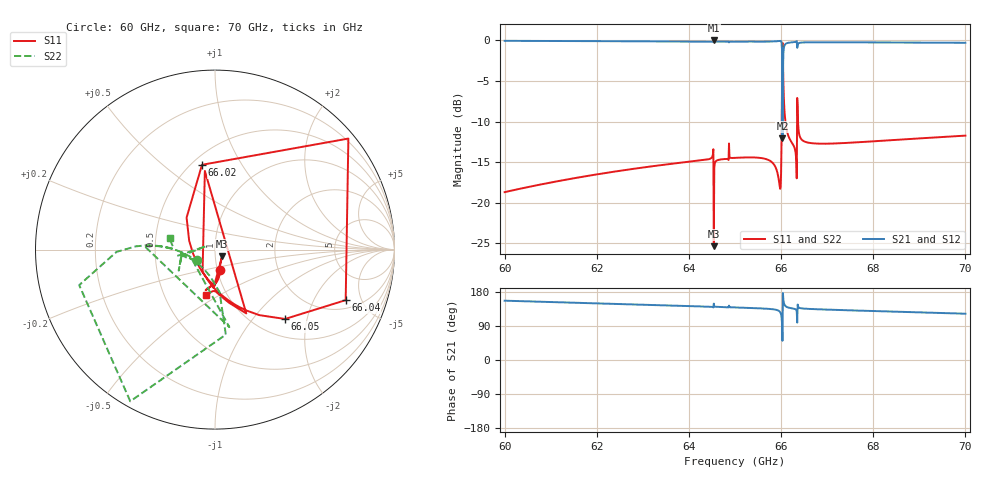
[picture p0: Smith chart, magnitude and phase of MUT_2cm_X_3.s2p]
! TOUCHSTONE file generated by CST MICROWAVE STUDIO
! Date and time: Tue Feb 27 21:04:24 2024
! Project name: material_angular.cst
! Parameters = {exis2=3; exis=5; X=5; Z=5; Y=2}
! Header version: 2018
! Port assignment regex: !\s*Touchstone port\s*([0-9]+)\s*=\s*(CST MWS port|CST DS port)\s*([0-9]+|Zmin|Zmax)\s*\(\"(.*)\"\)(\s*mode\s*([0-9]+))?.*
! Touchstone port assignment:
! Touchstone port 1 = CST MWS port 1 ("")
! Touchstone port 2 = CST MWS port 2 ("")
# GHz S MA R 376.7
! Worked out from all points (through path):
!   1001 points, 60 GHz to 70 GHz, reference 376.7 ohm
!   highest |S21| = -0.01 dB at 64.54 GHz (marker M1); lowest = -12.1 dB at 66.03 GHz (marker M2)
!   lowest |S11| = -25.3 dB at 64.54 GHz (marker M3), VSWR 1.11, Z = 407 - j29.9 ohm
!   |S11| at or under -10 dB: start of sweep to 66.01 GHz; 66.09365 GHz to 66.34706 GHz (253.4 MHz wide, 0.383 % of centre); 66.37 GHz to end of sweep
!   |S22| runs from -25.4 to -0.3 dB; largest |S21 - S12| = 0.0079
!   S11 on the Smith chart (normalised r, x): 60 GHz: 1.03, -0.24; 66.02 GHz: 0.56, +0.69; 66.04 GHz: 2.55, -3.68; 66.05 GHz: 1.34, -1.48; 70 GHz: 0.80, -0.43
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60  0.1163 -76.0  0.9932 156.5  0.9932 156.5  0.1163 -150.9
61.67  0.1442 -80.0  0.9897 150.6  0.9894 150.6  0.1445 -159.0
63.34  0.1697 -84.7  0.9853 144.7  0.9856 144.6  0.17 -166.0
64.48  0.1881 -89.1  0.9819 140.3  0.9822 140.3  0.1881 -170.3
64.54  0.05404 -42.8  0.9985 148.8  0.9985 148.8  0.0538 159.8
65  0.189 -90.7  0.9815 138.7  0.9821 138.7  0.189 -171.9
65.73  0.1832 -97.6  0.983 135.0  0.9832 135.0  0.1831 -172.5
65.95  0.1386 -123.1  0.9903 129.9  0.9905 129.9  0.1385 -157.1
65.98  0.1218 -151.7  0.9925 126.4  0.9927 126.4  0.1216 -135.5
66.02  0.478 98.7  0.8781 98.0  0.8784 98.0  0.4775 -82.8
66.03  0.9669 39.8  0.249 50.7  0.2511 50.4  0.9682 -119.2
66.04  0.7807 -21.1  0.6219 176.6  0.6238 176.8  0.7819 -165.4
66.05  0.5493 -44.7  0.8355 158.3  0.8359 158.3  0.5493 -178.6
66.09  0.3227 -70.5  0.9465 143.0  0.947 143.0  0.3222 176.3
66.13  0.274 -78.3  0.9615 139.6  0.9622 139.6  0.2742 177.3
66.29  0.2185 -90.4  0.9756 135.2  0.9756 135.2  0.2189 -179.4
66.3  0.2139 -91.5  0.9767 134.8  0.9767 134.9  0.2142 -179.0
66.4  0.2594 -82.9  0.9656 137.4  0.9657 137.5  0.2596 177.7
66.41  0.2544 -83.8  0.967 137.1  0.967 137.1  0.2546 177.9
66.67  0.2327 -89.7  0.9727 134.5  0.9726 134.5  0.2325 178.6
68.34  0.2423 -97.1  0.9704 128.0  0.9701 128.0  0.2422 172.9
70  0.259 -101.7  0.9659 122.2  0.9658 122.2  0.2591 166.1
